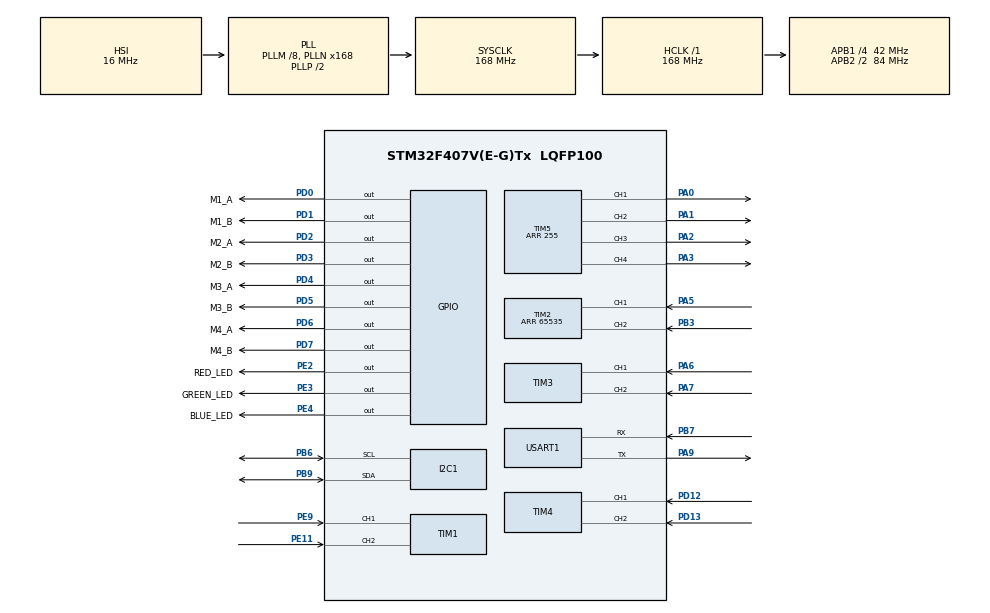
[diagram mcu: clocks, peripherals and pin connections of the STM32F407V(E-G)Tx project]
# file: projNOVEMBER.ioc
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Dma.Request0=USART1_TX
Dma.USART1_TX.0.Direction=DMA_MEMORY_TO_PERIPH
Dma.USART1_TX.0.FIFOMode=DMA_FIFOMODE_DISABLE
Dma.USART1_TX.0.Instance=DMA2_Stream7
Dma.USART1_TX.0.MemDataAlignment=DMA_MDATAALIGN_BYTE
Dma.USART1_TX.0.MemInc=DMA_MINC_ENABLE
Dma.USART1_TX.0.Mode=DMA_NORMAL
Dma.USART1_TX.0.PeriphDataAlignment=DMA_PDATAALIGN_BYTE
Dma.USART1_TX.0.PeriphInc=DMA_PINC_DISABLE
Dma.USART1_TX.0.Priority=DMA_PRIORITY_LOW
Mcu.Family=STM32F4
Mcu.Name=STM32F407V(E-G)Tx
Mcu.Package=LQFP100
NVIC.DMA2_Stream7_IRQn=true\:0\:0\:false\:false\:true\:false\:true\:true
NVIC.PriorityGroup=NVIC_PRIORITYGROUP_4
NVIC.TIM1_CC_IRQn=true\:0\:0\:false\:false\:true\:true\:true\:true
NVIC.TIM2_IRQn=true\:0\:0\:false\:false\:true\:true\:true\:true
NVIC.TIM3_IRQn=true\:0\:0\:false\:false\:true\:true\:true\:true
NVIC.TIM4_IRQn=true\:0\:0\:false\:false\:true\:true\:true\:true
PA0-WKUP.Signal=S_TIM5_CH1
PA1.Signal=S_TIM5_CH2
PA13.Mode=Serial_Wire
PA13.Signal=SYS_JTMS-SWDIO
PA14.Mode=Serial_Wire
PA14.Signal=SYS_JTCK-SWCLK
PA2.Signal=S_TIM5_CH3
PA3.Signal=S_TIM5_CH4
PA5.Signal=S_TIM2_CH1_ETR
PA6.Signal=S_TIM3_CH1
PA7.Signal=S_TIM3_CH2
PA9.Mode=Asynchronous
PA9.Signal=USART1_TX
PB3.Signal=S_TIM2_CH2
PB6.Mode=I2C
PB6.Signal=I2C1_SCL
PB7.Mode=Asynchronous
PB7.Signal=USART1_RX
PB9.Mode=I2C
PB9.Signal=I2C1_SDA
PD0.GPIO_Label=M1_A
PD0.Signal=GPIO_Output
PD1.GPIO_Label=M1_B
PD1.Signal=GPIO_Output
PD12.Signal=S_TIM4_CH1
PD13.Signal=S_TIM4_CH2
PD2.GPIO_Label=M2_A
PD2.Signal=GPIO_Output
PD3.GPIO_Label=M2_B
PD3.Signal=GPIO_Output
PD4.GPIO_Label=M3_A
PD4.Signal=GPIO_Output
PD5.GPIO_Label=M3_B
PD5.Signal=GPIO_Output
PD6.GPIO_Label=M4_A
PD6.Signal=GPIO_Output
PD7.GPIO_Label=M4_B
PD7.Signal=GPIO_Output
PE11.Signal=S_TIM1_CH2
PE2.GPIO_Label=RED_LED
PE2.Signal=GPIO_Output
PE3.GPIO_Label=GREEN_LED
PE3.Signal=GPIO_Output
PE4.GPIO_Label=BLUE_LED
PE4.Signal=GPIO_Output
PE9.Signal=S_TIM1_CH1
ProjectManager.HeapSize=0x200
ProjectManager.StackSize=0x400
ProjectManager.TargetToolchain=STM32CubeIDE
RCC.48MHZClocksFreq_Value=84000000
RCC.AHBFreq_Value=168000000
RCC.APB1CLKDivider=RCC_HCLK_DIV4
RCC.APB1Freq_Value=42000000
RCC.APB1TimFreq_Value=84000000
RCC.APB2CLKDivider=RCC_HCLK_DIV2
RCC.APB2Freq_Value=84000000
RCC.APB2TimFreq_Value=168000000
RCC.CortexFreq_Value=168000000
RCC.HCLKFreq_Value=168000000
RCC.HSE_VALUE=25000000
RCC.HSI_VALUE=16000000
RCC.LSE_VALUE=32768
RCC.PLLM=8
RCC.PLLN=168
RCC.SYSCLKFreq_VALUE=168000000
RCC.SYSCLKSource=RCC_SYSCLKSOURCE_PLLCLK
RCC.VCOOutputFreq_Value=336000000
SH.S_TIM1_CH1.0=TIM1_CH1,Encoder_Interface
SH.S_TIM1_CH2.0=TIM1_CH2,Encoder_Interface
SH.S_TIM2_CH1_ETR.0=TIM2_CH1,Encoder_Interface
SH.S_TIM2_CH2.0=TIM2_CH2,Encoder_Interface
SH.S_TIM3_CH1.0=TIM3_CH1,Encoder_Interface
SH.S_TIM3_CH2.0=TIM3_CH2,Encoder_Interface
SH.S_TIM4_CH1.0=TIM4_CH1,Encoder_Interface
SH.S_TIM4_CH2.0=TIM4_CH2,Encoder_Interface
SH.S_TIM5_CH1.0=TIM5_CH1,PWM Generation1 CH1
SH.S_TIM5_CH2.0=TIM5_CH2,PWM Generation2 CH2
SH.S_TIM5_CH3.0=TIM5_CH3,PWM Generation3 CH3
SH.S_TIM5_CH4.0=TIM5_CH4,PWM Generation4 CH4
TIM1.EncoderMode=TIM_ENCODERMODE_TI12
TIM1.IC1Polarity=TIM_ICPOLARITY_FALLING
TIM1.IC2Polarity=TIM_ICPOLARITY_FALLING
TIM2.EncoderMode=TIM_ENCODERMODE_TI12
TIM2.IC1Polarity=TIM_ICPOLARITY_FALLING
TIM2.IC2Polarity=TIM_ICPOLARITY_FALLING
TIM2.Period=65535
TIM3.EncoderMode=TIM_ENCODERMODE_TI12
TIM3.IC1Polarity=TIM_ICPOLARITY_FALLING
TIM3.IC2Polarity=TIM_ICPOLARITY_FALLING
TIM4.EncoderMode=TIM_ENCODERMODE_TI12
TIM4.IC1Polarity=TIM_ICPOLARITY_FALLING
TIM4.IC2Polarity=TIM_ICPOLARITY_FALLING
TIM5.Channel-PWM\ Generation1\ CH1=TIM_CHANNEL_1
TIM5.Channel-PWM\ Generation2\ CH2=TIM_CHANNEL_2
TIM5.Channel-PWM\ Generation3\ CH3=TIM_CHANNEL_3
TIM5.Channel-PWM\ Generation4\ CH4=TIM_CHANNEL_4
TIM5.Period=255
USART1.VirtualMode=VM_ASYNC
board=custom

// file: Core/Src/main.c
/* USER CODE BEGIN Header */
/**
  ******************************************************************************
  * @file           : main.c
  * @brief          : Main program body
  ******************************************************************************
  * @attention
  *
  * Copyright (c) 2025 STMicroelectronics.
  * All rights reserved.
  *
  * This software is licensed under terms that can be found in the LICENSE file
  * in the root directory of this software component.
  * If no LICENSE file comes with this software, it is provided AS-IS.
  *
  ******************************************************************************
  */
/* USER CODE END Header */
#include "main.h"

/* USER CODE BEGIN Includes */
#include <stdio.h>
#include <string.h>
#include <MPU9250.h>
#include <ENCODER.h>
/* USER CODE END Includes */

I2C_HandleTypeDef hi2c1;

TIM_HandleTypeDef htim1;
TIM_HandleTypeDef htim2;
TIM_HandleTypeDef htim3;
TIM_HandleTypeDef htim4;
TIM_HandleTypeDef htim5;

UART_HandleTypeDef huart1;
DMA_HandleTypeDef hdma_usart1_tx;

/* USER CODE BEGIN PV */
/*
 * Creating Objects for Data structures of IMU sensors for proper structured data
 */
Gyro_HandleTypeDef		Gyr;
Accel_HandleTypeDef		Acc;
Magneto_HandleTypeDef	Mag;
IMU_HandleTypeDef		MPU9250;
/* USER CODE END PV */

void SystemClock_Config(void);
static void MX_GPIO_Init(void);
static void MX_DMA_Init(void);
static void MX_I2C1_Init(void);
static void MX_USART1_UART_Init(void);
static void MX_TIM1_Init(void);
static void MX_TIM2_Init(void);
static void MX_TIM3_Init(void);
static void MX_TIM4_Init(void);
static void MX_TIM5_Init(void);
/* USER CODE BEGIN PFP */
////
/* USER CODE END PFP */

/* USER CODE BEGIN 0 */
//uint32_t Counter_new_1=0, Counter_new_2=0, Counter_new_3=0,Counter_new_4=0;
//int16_t Count_1=0, Count_2=0,Count_3=0,Count_4=0;
//
//volatile int16_t position_1=0, position_2=0, position_3=0, position_4=0;
//int speed_1=0, speed_2=0, speed_3=0, speed_4=0;
//int trig=0;
char ENC_DMA_DATA_BUFF[28];

void HAL_TIM_IC_CaptureCallback (TIM_HandleTypeDef *htim);

//void HAL_UART_TxCpltCallback(UART_HandleTypeDef *huart)
//{
//	if (trig==0) {
//		trig=1;
//		  HAL_GPIO_WritePin(GPIOA, GPIO_PIN_6, GPIO_PIN_RESET);
//
//		  //HAL_GPIO_WritePin(GPIOA, GPIO_PIN_6, GPIO_PIN_RESET);
//	//memset(UART_RX_BUFF,0,sizeof(UART_RX_BUFF));
//	//HAL_UART_Receive_IT(&huart4, UART_RX_BUFF, size);
//	}
//
//	else if(trig == 1)
//	{
//		trig=0;
//		  HAL_GPIO_WritePin(GPIOA, GPIO_PIN_6, GPIO_PIN_SET);
//		//HAL_GPIO_WritePin(GPIOA, GPIO_PIN_6, GPIO_PIN_SET);
//	}
//	//for(int i=0;ENC_DMA_DATA_BUFF[i]!=0;i++) {ENC_DMA_DATA_BUFF[i]=0;}
//
//	//strcpy(ENC_DMA_DATA_BUFF,"0");
//	//memset(ENC_DMA_DATA_BUFF, 0, sizeof(ENC_DMA_DATA_BUFF));
//	//HAL_Delay(100);
//}
/* USER CODE END 0 */

int main(void)
{

  /* MCU Configuration--------------------------------------------------------*/

  /* Reset of all peripherals, Initializes the Flash interface and the Systick. */
  HAL_Init();

  /* Configure the system clock */
  SystemClock_Config();

  /* Initialize all configured peripherals */
  MX_GPIO_Init();
  MX_DMA_Init();
  MX_I2C1_Init();
  MX_USART1_UART_Init();
  MX_TIM1_Init();
  MX_TIM2_Init();
  MX_TIM3_Init();
  MX_TIM4_Init();
  MX_TIM5_Init();
  /* USER CODE BEGIN 2 */

//  MPU9250_Init();
//  AK8963_Init();
//  Encoder_Init();

  /* USER CODE END 2 */

  /* Infinite loop */
  while (1)
  {

    /* USER CODE BEGIN 3 */
//	  MPU9250_Read_Accel();
//	  MPU9250_Read_Gyro();
//	  MPU9250_Read_Magnet();
//	  sprintf(MPU9250.Tx_Buff,"GYR_X=%-5.2f, GYR_Y=%-5.2f, GYR_Z=%-5.2f\nACC_X=%-5.2f, ACC_Y=%-5.2f, ACC_Z=%-5.2f\nMAG_X=%-5.2f, MAG_Y=%-5.2f, MAG_Z=%-5.2f\n\n",
//	  			   Gyr.X, Gyr.Y, Gyr.Z, Acc.X, Acc.Y, Acc.Z, Mag.X, Mag.Y, Mag.Z);
//	  HAL_UART_Transmit_DMA(&huart1, (uint8_t *)MPU9250.Tx_Buff, 10);
	  HAL_GPIO_WritePin(BLUE_LED_GPIO_Port, BLUE_LED_Pin, GPIO_PIN_SET);
	  HAL_GPIO_WritePin(GPIOE, GREEN_LED_Pin|RED_LED_Pin, GPIO_PIN_SET);
	  HAL_Delay(1000);
	  HAL_GPIO_WritePin(BLUE_LED_GPIO_Port, BLUE_LED_Pin, GPIO_PIN_RESET);
	  HAL_GPIO_WritePin(GPIOE, GREEN_LED_Pin|RED_LED_Pin, GPIO_PIN_RESET);
	  HAL_Delay(1000);
  }
  /* USER CODE END 3 */
}

void SystemClock_Config(void)
{
  RCC_OscInitTypeDef RCC_OscInitStruct = {0};
  RCC_ClkInitTypeDef RCC_ClkInitStruct = {0};

  /** Configure the main internal regulator output voltage
  */
  __HAL_RCC_PWR_CLK_ENABLE();
  __HAL_PWR_VOLTAGESCALING_CONFIG(PWR_REGULATOR_VOLTAGE_SCALE1);

  /** Initializes the RCC Oscillators according to the specified parameters
  * in the RCC_OscInitTypeDef structure.
  */
  RCC_OscInitStruct.OscillatorType = RCC_OSCILLATORTYPE_HSI;
  RCC_OscInitStruct.HSIState = RCC_HSI_ON;
  RCC_OscInitStruct.HSICalibrationValue = RCC_HSICALIBRATION_DEFAULT;
  RCC_OscInitStruct.PLL.PLLState = RCC_PLL_ON;
  RCC_OscInitStruct.PLL.PLLSource = RCC_PLLSOURCE_HSI;
  RCC_OscInitStruct.PLL.PLLM = 8;
  RCC_OscInitStruct.PLL.PLLN = 168;
  RCC_OscInitStruct.PLL.PLLP = RCC_PLLP_DIV2;
  RCC_OscInitStruct.PLL.PLLQ = 4;
  if (HAL_RCC_OscConfig(&RCC_OscInitStruct) != HAL_OK)
  {
    Error_Handler();
  }

  /** Initializes the CPU, AHB and APB buses clocks
  */
  RCC_ClkInitStruct.ClockType = RCC_CLOCKTYPE_HCLK|RCC_CLOCKTYPE_SYSCLK
                              |RCC_CLOCKTYPE_PCLK1|RCC_CLOCKTYPE_PCLK2;
  RCC_ClkInitStruct.SYSCLKSource = RCC_SYSCLKSOURCE_PLLCLK;
  RCC_ClkInitStruct.AHBCLKDivider = RCC_SYSCLK_DIV1;
  RCC_ClkInitStruct.APB1CLKDivider = RCC_HCLK_DIV4;
  RCC_ClkInitStruct.APB2CLKDivider = RCC_HCLK_DIV2;

  if (HAL_RCC_ClockConfig(&RCC_ClkInitStruct, FLASH_LATENCY_5) != HAL_OK)
  {
    Error_Handler();
  }
}

static void MX_I2C1_Init(void)
{

  hi2c1.Instance = I2C1;
  hi2c1.Init.ClockSpeed = 100000;
  hi2c1.Init.DutyCycle = I2C_DUTYCYCLE_2;
  hi2c1.Init.OwnAddress1 = 0;
  hi2c1.Init.AddressingMode = I2C_ADDRESSINGMODE_7BIT;
  hi2c1.Init.DualAddressMode = I2C_DUALADDRESS_DISABLE;
  hi2c1.Init.OwnAddress2 = 0;
  hi2c1.Init.GeneralCallMode = I2C_GENERALCALL_DISABLE;
  hi2c1.Init.NoStretchMode = I2C_NOSTRETCH_DISABLE;
  if (HAL_I2C_Init(&hi2c1) != HAL_OK)
  {
    Error_Handler();
  }

}

static void MX_TIM1_Init(void)
{

  TIM_Encoder_InitTypeDef sConfig = {0};
  TIM_MasterConfigTypeDef sMasterConfig = {0};

  htim1.Instance = TIM1;
  htim1.Init.Prescaler = 0;
  htim1.Init.CounterMode = TIM_COUNTERMODE_UP;
  htim1.Init.Period = 65535;
  htim1.Init.ClockDivision = TIM_CLOCKDIVISION_DIV1;
  htim1.Init.RepetitionCounter = 0;
  htim1.Init.AutoReloadPreload = TIM_AUTORELOAD_PRELOAD_DISABLE;
  sConfig.EncoderMode = TIM_ENCODERMODE_TI12;
  sConfig.IC1Polarity = TIM_ICPOLARITY_FALLING;
  sConfig.IC1Selection = TIM_ICSELECTION_DIRECTTI;
  sConfig.IC1Prescaler = TIM_ICPSC_DIV1;
  sConfig.IC1Filter = 0;
  sConfig.IC2Polarity = TIM_ICPOLARITY_FALLING;
  sConfig.IC2Selection = TIM_ICSELECTION_DIRECTTI;
  sConfig.IC2Prescaler = TIM_ICPSC_DIV1;
  sConfig.IC2Filter = 0;
  if (HAL_TIM_Encoder_Init(&htim1, &sConfig) != HAL_OK)
  {
    Error_Handler();
  }
  sMasterConfig.MasterOutputTrigger = TIM_TRGO_RESET;
  sMasterConfig.MasterSlaveMode = TIM_MASTERSLAVEMODE_DISABLE;
  if (HAL_TIMEx_MasterConfigSynchronization(&htim1, &sMasterConfig) != HAL_OK)
  {
    Error_Handler();
  }

}

static void MX_TIM2_Init(void)
{

  TIM_Encoder_InitTypeDef sConfig = {0};
  TIM_MasterConfigTypeDef sMasterConfig = {0};

  /* USER CODE BEGIN TIM2_Init 1 */
////
  /* USER CODE END TIM2_Init 1 */
  htim2.Instance = TIM2;
  htim2.Init.Prescaler = 0;
  htim2.Init.CounterMode = TIM_COUNTERMODE_UP;
  htim2.Init.Period = 65535;
  htim2.Init.ClockDivision = TIM_CLOCKDIVISION_DIV1;
  htim2.Init.AutoReloadPreload = TIM_AUTORELOAD_PRELOAD_DISABLE;
  sConfig.EncoderMode = TIM_ENCODERMODE_TI12;
  sConfig.IC1Polarity = TIM_ICPOLARITY_FALLING;
  sConfig.IC1Selection = TIM_ICSELECTION_DIRECTTI;
  sConfig.IC1Prescaler = TIM_ICPSC_DIV1;
  sConfig.IC1Filter = 0;
  sConfig.IC2Polarity = TIM_ICPOLARITY_FALLING;
  sConfig.IC2Selection = TIM_ICSELECTION_DIRECTTI;
  sConfig.IC2Prescaler = TIM_ICPSC_DIV1;
  sConfig.IC2Filter = 0;
  if (HAL_TIM_Encoder_Init(&htim2, &sConfig) != HAL_OK)
  {
    Error_Handler();
  }
  sMasterConfig.MasterOutputTrigger = TIM_TRGO_RESET;
  sMasterConfig.MasterSlaveMode = TIM_MASTERSLAVEMODE_DISABLE;
  if (HAL_TIMEx_MasterConfigSynchronization(&htim2, &sMasterConfig) != HAL_OK)
  {
    Error_Handler();
  }

}

static void MX_TIM3_Init(void)
{

  TIM_Encoder_InitTypeDef sConfig = {0};
  TIM_MasterConfigTypeDef sMasterConfig = {0};

  /* USER CODE BEGIN TIM3_Init 1 */
////
  /* USER CODE END TIM3_Init 1 */
  htim3.Instance = TIM3;
  htim3.Init.Prescaler = 0;
  htim3.Init.CounterMode = TIM_COUNTERMODE_UP;
  htim3.Init.Period = 65535;
  htim3.Init.ClockDivision = TIM_CLOCKDIVISION_DIV1;
  htim3.Init.AutoReloadPreload = TIM_AUTORELOAD_PRELOAD_DISABLE;
  sConfig.EncoderMode = TIM_ENCODERMODE_TI12;
  sConfig.IC1Polarity = TIM_ICPOLARITY_FALLING;
  sConfig.IC1Selection = TIM_ICSELECTION_DIRECTTI;
  sConfig.IC1Prescaler = TIM_ICPSC_DIV1;
  sConfig.IC1Filter = 0;
  sConfig.IC2Polarity = TIM_ICPOLARITY_FALLING;
  sConfig.IC2Selection = TIM_ICSELECTION_DIRECTTI;
  sConfig.IC2Prescaler = TIM_ICPSC_DIV1;
  sConfig.IC2Filter = 0;
  if (HAL_TIM_Encoder_Init(&htim3, &sConfig) != HAL_OK)
  {
    Error_Handler();
  }
  sMasterConfig.MasterOutputTrigger = TIM_TRGO_RESET;
  sMasterConfig.MasterSlaveMode = TIM_MASTERSLAVEMODE_DISABLE;
  if (HAL_TIMEx_MasterConfigSynchronization(&htim3, &sMasterConfig) != HAL_OK)
  {
    Error_Handler();
  }
  /* USER CODE BEGIN TIM3_Init 2 */
////
  /* USER CODE END TIM3_Init 2 */

}

static void MX_TIM4_Init(void)
{

  /* USER CODE BEGIN TIM4_Init 0 */
////
  /* USER CODE END TIM4_Init 0 */

  TIM_Encoder_InitTypeDef sConfig = {0};
  TIM_MasterConfigTypeDef sMasterConfig = {0};

  /* USER CODE BEGIN TIM4_Init 1 */
////
  /* USER CODE END TIM4_Init 1 */
  htim4.Instance = TIM4;
  htim4.Init.Prescaler = 0;
  htim4.Init.CounterMode = TIM_COUNTERMODE_UP;
  htim4.Init.Period = 65535;
  htim4.Init.ClockDivision = TIM_CLOCKDIVISION_DIV1;
  htim4.Init.AutoReloadPreload = TIM_AUTORELOAD_PRELOAD_DISABLE;
  sConfig.EncoderMode = TIM_ENCODERMODE_TI12;
  sConfig.IC1Polarity = TIM_ICPOLARITY_FALLING;
  sConfig.IC1Selection = TIM_ICSELECTION_DIRECTTI;
  sConfig.IC1Prescaler = TIM_ICPSC_DIV1;
  sConfig.IC1Filter = 0;
  sConfig.IC2Polarity = TIM_ICPOLARITY_FALLING;
  sConfig.IC2Selection = TIM_ICSELECTION_DIRECTTI;
  sConfig.IC2Prescaler = TIM_ICPSC_DIV1;
  sConfig.IC2Filter = 0;
  if (HAL_TIM_Encoder_Init(&htim4, &sConfig) != HAL_OK)
  {
    Error_Handler();
  }
  sMasterConfig.MasterOutputTrigger = TIM_TRGO_RESET;
  sMasterConfig.MasterSlaveMode = TIM_MASTERSLAVEMODE_DISABLE;
  if (HAL_TIMEx_MasterConfigSynchronization(&htim4, &sMasterConfig) != HAL_OK)
  {
    Error_Handler();
  }
  /* USER CODE BEGIN TIM4_Init 2 */
////
  /* USER CODE END TIM4_Init 2 */

}

static void MX_TIM5_Init(void)
{

  /* USER CODE BEGIN TIM5_Init 0 */
////
  /* USER CODE END TIM5_Init 0 */

  TIM_MasterConfigTypeDef sMasterConfig = {0};
  TIM_OC_InitTypeDef sConfigOC = {0};

  /* USER CODE BEGIN TIM5_Init 1 */
////
  /* USER CODE END TIM5_Init 1 */
  htim5.Instance = TIM5;
  htim5.Init.Prescaler = 0;
  htim5.Init.CounterMode = TIM_COUNTERMODE_UP;
  htim5.Init.Period = 255;
  htim5.Init.ClockDivision = TIM_CLOCKDIVISION_DIV1;
  htim5.Init.AutoReloadPreload = TIM_AUTORELOAD_PRELOAD_DISABLE;
  if (HAL_TIM_PWM_Init(&htim5) != HAL_OK)
  {
    Error_Handler();
  }
  sMasterConfig.MasterOutputTrigger = TIM_TRGO_RESET;
  sMasterConfig.MasterSlaveMode = TIM_MASTERSLAVEMODE_DISABLE;
  if (HAL_TIMEx_MasterConfigSynchronization(&htim5, &sMasterConfig) != HAL_OK)
  {
    Error_Handler();
  }
  sConfigOC.OCMode = TIM_OCMODE_PWM1;
  sConfigOC.Pulse = 0;
  sConfigOC.OCPolarity = TIM_OCPOLARITY_HIGH;
  sConfigOC.OCFastMode = TIM_OCFAST_DISABLE;
  if (HAL_TIM_PWM_ConfigChannel(&htim5, &sConfigOC, TIM_CHANNEL_1) != HAL_OK)
  {
    Error_Handler();
  }
  if (HAL_TIM_PWM_ConfigChannel(&htim5, &sConfigOC, TIM_CHANNEL_2) != HAL_OK)
  {
    Error_Handler();
  }
  if (HAL_TIM_PWM_ConfigChannel(&htim5, &sConfigOC, TIM_CHANNEL_3) != HAL_OK)
  {
    Error_Handler();
  }
  if (HAL_TIM_PWM_ConfigChannel(&htim5, &sConfigOC, TIM_CHANNEL_4) != HAL_OK)
  {
    Error_Handler();
  }
  /* USER CODE BEGIN TIM5_Init 2 */
////
  /* USER CODE END TIM5_Init 2 */
  HAL_TIM_MspPostInit(&htim5);

}

static void MX_USART1_UART_Init(void)
{

  /* USER CODE BEGIN USART1_Init 0 */
////
  /* USER CODE END USART1_Init 0 */

  /* USER CODE BEGIN USART1_Init 1 */
////
  /* USER CODE END USART1_Init 1 */
  huart1.Instance = USART1;
  huart1.Init.BaudRate = 115200;
  huart1.Init.WordLength = UART_WORDLENGTH_8B;
  huart1.Init.StopBits = UART_STOPBITS_1;
  huart1.Init.Parity = UART_PARITY_NONE;
  huart1.Init.Mode = UART_MODE_TX_RX;
  huart1.Init.HwFlowCtl = UART_HWCONTROL_NONE;
  huart1.Init.OverSampling = UART_OVERSAMPLING_16;
  if (HAL_UART_Init(&huart1) != HAL_OK)
  {
    Error_Handler();
  }
  /* USER CODE BEGIN USART1_Init 2 */
////
  /* USER CODE END USART1_Init 2 */

}

static void MX_DMA_Init(void)
{

  /* DMA controller clock enable */
  __HAL_RCC_DMA2_CLK_ENABLE();

  /* DMA interrupt init */
  /* DMA2_Stream7_IRQn interrupt configuration */
  HAL_NVIC_SetPriority(DMA2_Stream7_IRQn, 0, 0);
  HAL_NVIC_EnableIRQ(DMA2_Stream7_IRQn);

}

static void MX_GPIO_Init(void)
{
  GPIO_InitTypeDef GPIO_InitStruct = {0};

  /* GPIO Ports Clock Enable */
  __HAL_RCC_GPIOE_CLK_ENABLE();
  __HAL_RCC_GPIOA_CLK_ENABLE();
  __HAL_RCC_GPIOD_CLK_ENABLE();
  __HAL_RCC_GPIOB_CLK_ENABLE();

  /*Configure GPIO pin Output Level */
  HAL_GPIO_WritePin(GPIOE, RED_LED_Pin|GREEN_LED_Pin|BLUE_LED_Pin, GPIO_PIN_RESET);

  /*Configure GPIO pin Output Level */
  HAL_GPIO_WritePin(GPIOD, M1_A_Pin|M1_B_Pin|M2_A_Pin|M2_B_Pin
                          |M3_A_Pin|M3_B_Pin|M4_A_Pin|M4_B_Pin, GPIO_PIN_RESET);

  /*Configure GPIO pins : RED_LED_Pin GREEN_LED_Pin BLUE_LED_Pin */
  GPIO_InitStruct.Pin = RED_LED_Pin|GREEN_LED_Pin|BLUE_LED_Pin;
  GPIO_InitStruct.Mode = GPIO_MODE_OUTPUT_PP;
  GPIO_InitStruct.Pull = GPIO_NOPULL;
  GPIO_InitStruct.Speed = GPIO_SPEED_FREQ_LOW;
  HAL_GPIO_Init(GPIOE, &GPIO_InitStruct);

  /*Configure GPIO pins : M1_A_Pin M1_B_Pin M2_A_Pin M2_B_Pin
                           M3_A_Pin M3_B_Pin M4_A_Pin M4_B_Pin */
  GPIO_InitStruct.Pin = M1_A_Pin|M1_B_Pin|M2_A_Pin|M2_B_Pin
                          |M3_A_Pin|M3_B_Pin|M4_A_Pin|M4_B_Pin;
  GPIO_InitStruct.Mode = GPIO_MODE_OUTPUT_PP;
  GPIO_InitStruct.Pull = GPIO_NOPULL;
  GPIO_InitStruct.Speed = GPIO_SPEED_FREQ_LOW;
  HAL_GPIO_Init(GPIOD, &GPIO_InitStruct);

}

/* USER CODE BEGIN 4 */
////
/* USER CODE END 4 */

void Error_Handler(void)
{
  /* USER CODE BEGIN Error_Handler_Debug */
////  /* User can add his own implementation to report the HAL error return state */
////  __disable_irq();
////  while (1)
////  {
////  }
  /* USER CODE END Error_Handler_Debug */
}

#ifdef  USE_FULL_ASSERT
/**
  * @brief  Reports the name of the source file and the source line number
  *         where the assert_param error has occurred.
  * @param  file: pointer to the source file name
  * @param  line: assert_param error line source number
  * @retval None
  */
void assert_failed(uint8_t *file, uint32_t line)
{
  /* USER CODE BEGIN 6 */
////  /* User can add his own implementation to report the file name and line number,
////     ex: printf("Wrong parameters value: file %s on line %d\r\n", file, line) */
  /* USER CODE END 6 */
}
#endif /* USE_FULL_ASSERT */
